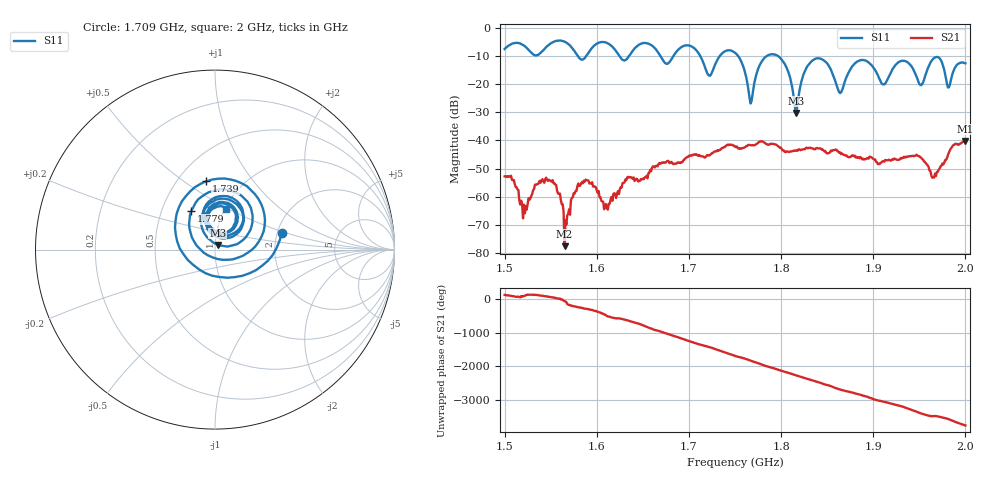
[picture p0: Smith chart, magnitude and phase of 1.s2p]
! NanoVNA-App by SYSJOINT et al v1.1.209 (+OD18)
! Date: 2026-01-21 14:18:52
! Start: 1,5GHz Stop: 2GHz Points: 501
! S-Parameter data: F S11 S21 S12 S22
# Hz S RI R 50
!  Frequency  S11_Real  S11_Imag  S21_Real  S21_Imag  S12_Real  S12_Imag  S22_Real  S22_Imag
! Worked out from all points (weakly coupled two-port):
!   501 points, 1.5 GHz to 2 GHz, reference 50 ohm
!   highest |S21| = -40.13 dB at 2 GHz (marker M1); lowest = -77.6 dB at 1.565 GHz (marker M2)
!   lowest |S11| = -30.2 dB at 1.816 GHz (marker M3), VSWR 1.06, Z = 51.5 + j2.73 ohm
!   |S11| at or under -10 dB: 1.712 GHz to 1.733 GHz (21.11 MHz wide, 1.23 % of centre); 1.753 GHz to 1.784 GHz (30.95 MHz wide, 1.75 % of centre); 1.797 GHz to end of sweep (the widest 3 of 6)
!   S12 and S22 are empty: the file has one direction only
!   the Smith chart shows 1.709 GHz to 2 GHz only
!   S11 on the Smith chart (normalised r, x): 1.709 GHz: 2.11, +0.47; 1.739 GHz: 0.68, +0.61; 1.779 GHz: 0.70, +0.33; 2 GHz: 1.01, +0.49
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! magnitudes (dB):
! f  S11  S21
! 1.5 GHz  -7.5  -52.7
! 1.522 GHz  -6.5  -65.8
! 1.552 GHz  -5.1  -54.1
! 1.565 GHz  -4.9  -77.6
! 1.584 GHz  -11.3  -54.7
! 1.61 GHz  -5.2  -62.6
! 1.667 GHz  -8.9  -48.4
! 1.709 GHz  -8.3  -45.2
! 1.722 GHz  -17.0  -45.4
! 1.739 GHz  -8.3  -42.3
! 1.75 GHz  -8.8  -42.2
! 1.767 GHz  -26.9  -41.7
! 1.779 GHz  -11.9  -40.3
! 1.801 GHz  -11.4  -43.3
! 1.816 GHz  -30.2  -43.6
! 1.834 GHz  -11.6  -42.9
! 1.864 GHz  -23.1  -44.2
! 1.885 GHz  -11.6  -46.3
! 1.917 GHz  -17.3  -46.8
! 1.966 GHz  -10.7  -53.2
! 1.982 GHz  -21.1  -44.4
! 2 GHz  -12.6  -40.1
